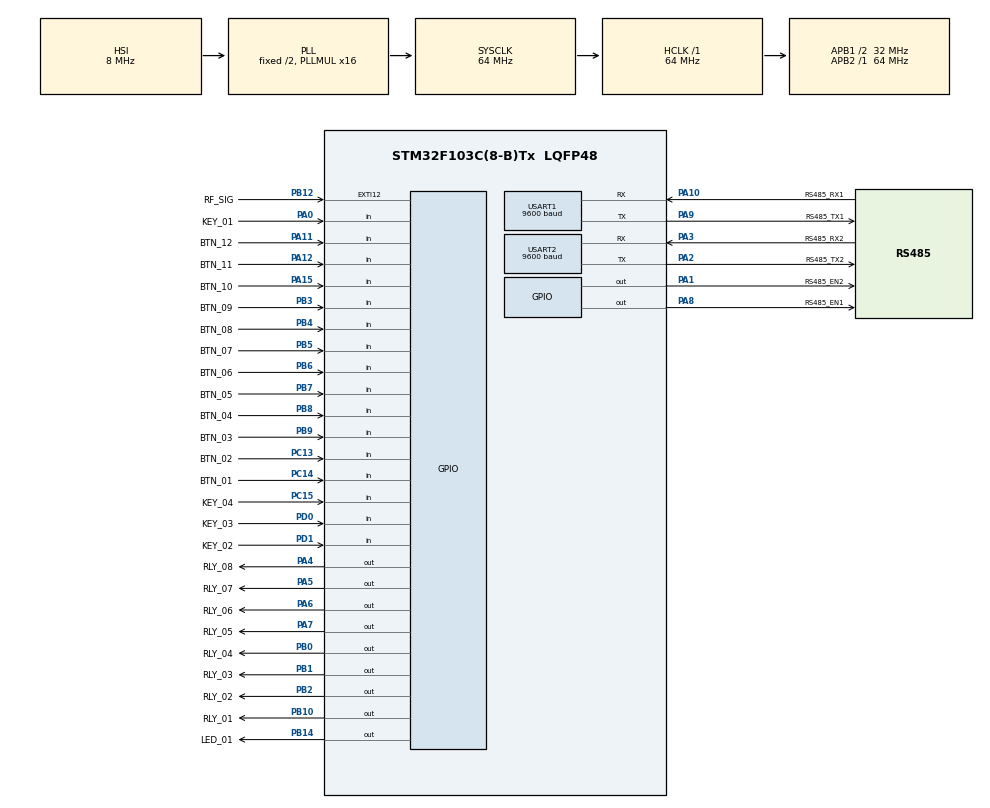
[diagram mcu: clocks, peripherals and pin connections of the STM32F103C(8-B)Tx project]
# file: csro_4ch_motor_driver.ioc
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Dma.Request0=USART1_RX
Dma.Request1=USART1_TX
Dma.Request2=USART2_RX
Dma.Request3=USART2_TX
Dma.USART1_RX.0.Direction=DMA_PERIPH_TO_MEMORY
Dma.USART1_RX.0.Instance=DMA1_Channel5
Dma.USART1_RX.0.MemDataAlignment=DMA_MDATAALIGN_BYTE
Dma.USART1_RX.0.MemInc=DMA_MINC_ENABLE
Dma.USART1_RX.0.Mode=DMA_CIRCULAR
Dma.USART1_RX.0.PeriphDataAlignment=DMA_PDATAALIGN_BYTE
Dma.USART1_RX.0.PeriphInc=DMA_PINC_DISABLE
Dma.USART1_RX.0.Priority=DMA_PRIORITY_LOW
Dma.USART1_TX.1.Direction=DMA_MEMORY_TO_PERIPH
Dma.USART1_TX.1.Instance=DMA1_Channel4
Dma.USART1_TX.1.MemDataAlignment=DMA_MDATAALIGN_BYTE
Dma.USART1_TX.1.MemInc=DMA_MINC_ENABLE
Dma.USART1_TX.1.Mode=DMA_NORMAL
Dma.USART1_TX.1.PeriphDataAlignment=DMA_PDATAALIGN_BYTE
Dma.USART1_TX.1.PeriphInc=DMA_PINC_DISABLE
Dma.USART1_TX.1.Priority=DMA_PRIORITY_LOW
Dma.USART2_RX.2.Direction=DMA_PERIPH_TO_MEMORY
Dma.USART2_RX.2.Instance=DMA1_Channel6
Dma.USART2_RX.2.MemDataAlignment=DMA_MDATAALIGN_BYTE
Dma.USART2_RX.2.MemInc=DMA_MINC_ENABLE
Dma.USART2_RX.2.Mode=DMA_CIRCULAR
Dma.USART2_RX.2.PeriphDataAlignment=DMA_PDATAALIGN_BYTE
Dma.USART2_RX.2.PeriphInc=DMA_PINC_DISABLE
Dma.USART2_RX.2.Priority=DMA_PRIORITY_LOW
Dma.USART2_TX.3.Direction=DMA_MEMORY_TO_PERIPH
Dma.USART2_TX.3.Instance=DMA1_Channel7
Dma.USART2_TX.3.MemDataAlignment=DMA_MDATAALIGN_BYTE
Dma.USART2_TX.3.MemInc=DMA_MINC_ENABLE
Dma.USART2_TX.3.Mode=DMA_NORMAL
Dma.USART2_TX.3.PeriphDataAlignment=DMA_PDATAALIGN_BYTE
Dma.USART2_TX.3.PeriphInc=DMA_PINC_DISABLE
Dma.USART2_TX.3.Priority=DMA_PRIORITY_LOW
FREERTOS.Tasks01=Task01,47,256,StartTask01,Default,NULL,Dynamic,NULL,NULL;Task02,45,256,StartTask02,Default,NULL,Dynamic,NULL,NULL;Task03,43,128,StartTask03,Default,NULL,Dynamic,NULL,NULL;Task04,41,128,StartTask04,Default,NULL,Dynamic,NULL,NULL
FREERTOS.configTOTAL_HEAP_SIZE=5120
FREERTOS.configUSE_NEWLIB_REENTRANT=1
Mcu.Family=STM32F1
Mcu.Name=STM32F103C(8-B)Tx
Mcu.Package=LQFP48
NVIC.DMA1_Channel4_IRQn=true\:5\:0\:false\:false\:true\:true\:false\:true
NVIC.DMA1_Channel5_IRQn=true\:5\:0\:false\:false\:true\:true\:false\:true
NVIC.DMA1_Channel6_IRQn=true\:5\:0\:false\:false\:true\:true\:false\:true
NVIC.DMA1_Channel7_IRQn=true\:5\:0\:false\:false\:true\:true\:false\:true
NVIC.EXTI15_10_IRQn=true\:5\:0\:false\:false\:true\:true\:true\:true
NVIC.PriorityGroup=NVIC_PRIORITYGROUP_4
NVIC.TIM4_IRQn=true\:15\:0\:false\:false\:true\:false\:false\:true
NVIC.TimeBase=TIM4_IRQn
NVIC.TimeBaseIP=TIM4
NVIC.USART1_IRQn=true\:5\:0\:false\:false\:true\:true\:true\:true
NVIC.USART2_IRQn=true\:5\:0\:false\:false\:true\:true\:true\:true
PA0-WKUP.GPIO_Label=KEY_01
PA0-WKUP.Signal=GPIO_Input
PA1.GPIO_Label=RS485_EN2
PA1.Signal=GPIO_Output
PA10.GPIO_Label=RS485_RX1
PA10.Mode=Asynchronous
PA10.Signal=USART1_RX
PA11.GPIO_Label=BTN_12
PA11.Signal=GPIO_Input
PA12.GPIO_Label=BTN_11
PA12.Signal=GPIO_Input
PA13.GPIO_Label=SWDIO
PA13.Mode=Serial_Wire
PA13.Signal=SYS_JTMS-SWDIO
PA14.GPIO_Label=SWCLK
PA14.Mode=Serial_Wire
PA14.Signal=SYS_JTCK-SWCLK
PA15.GPIO_Label=BTN_10
PA15.Signal=GPIO_Input
PA2.GPIO_Label=RS485_TX2
PA2.Mode=Asynchronous
PA2.Signal=USART2_TX
PA3.GPIO_Label=RS485_RX2
PA3.Mode=Asynchronous
PA3.Signal=USART2_RX
PA4.GPIO_Label=RLY_08
PA4.Signal=GPIO_Output
PA5.GPIO_Label=RLY_07
PA5.Signal=GPIO_Output
PA6.GPIO_Label=RLY_06
PA6.Signal=GPIO_Output
PA7.GPIO_Label=RLY_05
PA7.Signal=GPIO_Output
PA8.GPIO_Label=RS485_EN1
PA8.Signal=GPIO_Output
PA9.GPIO_Label=RS485_TX1
PA9.Mode=Asynchronous
PA9.Signal=USART1_TX
PB0.GPIO_Label=RLY_04
PB0.Signal=GPIO_Output
PB1.GPIO_Label=RLY_03
PB1.Signal=GPIO_Output
PB10.GPIO_Label=RLY_01
PB10.Signal=GPIO_Output
PB12.GPIO_Label=RF_SIG
PB12.GPIO_ModeDefaultEXTI=GPIO_MODE_IT_RISING_FALLING
PB12.GPIO_PuPd=GPIO_NOPULL
PB12.Signal=GPXTI12
PB14.GPIO_Label=LED_01
PB14.Signal=GPIO_Output
PB2.GPIO_Label=RLY_02
PB2.Signal=GPIO_Output
PB3.GPIO_Label=BTN_09
PB3.Signal=GPIO_Input
PB4.GPIO_Label=BTN_08
PB4.Signal=GPIO_Input
PB5.GPIO_Label=BTN_07
PB5.Signal=GPIO_Input
PB6.GPIO_Label=BTN_06
PB6.Signal=GPIO_Input
PB7.GPIO_Label=BTN_05
PB7.Signal=GPIO_Input
PB8.GPIO_Label=BTN_04
PB8.Signal=GPIO_Input
PB9.GPIO_Label=BTN_03
PB9.Signal=GPIO_Input
PC13-TAMPER-RTC.GPIO_Label=BTN_02
PC13-TAMPER-RTC.Signal=GPIO_Input
PC14-OSC32_IN.GPIO_Label=BTN_01
PC14-OSC32_IN.Signal=GPIO_Input
PC15-OSC32_OUT.GPIO_Label=KEY_04
PC15-OSC32_OUT.Signal=GPIO_Input
PD0-OSC_IN.GPIO_Label=KEY_03
PD0-OSC_IN.Signal=GPIO_Input
PD1-OSC_OUT.GPIO_Label=KEY_02
PD1-OSC_OUT.Signal=GPIO_Input
ProjectManager.HeapSize=0x800
ProjectManager.StackSize=0x800
ProjectManager.TargetToolchain=STM32CubeIDE
RCC.AHBFreq_Value=64000000
RCC.APB1CLKDivider=RCC_HCLK_DIV2
RCC.APB1Freq_Value=32000000
RCC.APB1TimFreq_Value=64000000
RCC.APB2Freq_Value=64000000
RCC.APB2TimFreq_Value=64000000
RCC.HCLKFreq_Value=64000000
RCC.PLLMUL=RCC_PLL_MUL16
RCC.SYSCLKFreq_VALUE=64000000
RCC.SYSCLKSource=RCC_SYSCLKSOURCE_PLLCLK
RCC.USBFreq_Value=64000000
TIM1.Prescaler=639
USART1.BaudRate=9600
USART1.VirtualMode=VM_ASYNC
USART2.BaudRate=9600
USART2.VirtualMode=VM_ASYNC
VP_FREERTOS_VS_CMSIS_V2.Mode=CMSIS_V2
VP_SYS_VS_tim4.Mode=TIM4
VP_TIM1_VS_ClockSourceINT.Mode=Internal
board=custom

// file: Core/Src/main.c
/* USER CODE BEGIN Header */
/**
  ******************************************************************************
  * @file           : main.c
  * @brief          : Main program body
  ******************************************************************************
  * @attention
  *
  * Copyright (c) 2021 STMicroelectronics.
  * All rights reserved.
  *
  * This software is licensed under terms that can be found in the LICENSE file
  * in the root directory of this software component.
  * If no LICENSE file comes with this software, it is provided AS-IS.
  *
  ******************************************************************************
  */
/* USER CODE END Header */
#include "main.h"
#include "cmsis_os.h"
#include "dma.h"
#include "tim.h"
#include "usart.h"
#include "gpio.h"

void SystemClock_Config(void);
void MX_FREERTOS_Init(void);

int main(void)
{

  /* MCU Configuration--------------------------------------------------------*/

  /* Reset of all peripherals, Initializes the Flash interface and the Systick. */
  HAL_Init();

  /* Configure the system clock */
  SystemClock_Config();

  /* Initialize all configured peripherals */
  MX_GPIO_Init();
  MX_DMA_Init();
  MX_USART1_UART_Init();
  MX_USART2_UART_Init();
  MX_TIM1_Init();

  /* Init scheduler */
  osKernelInitialize();  /* Call init function for freertos objects (in freertos.c) */
  MX_FREERTOS_Init();
  /* Start scheduler */
  osKernelStart();

  /* We should never get here as control is now taken by the scheduler */
  /* Infinite loop */
  while (1)
  {

  }
}

void SystemClock_Config(void)
{
  RCC_OscInitTypeDef RCC_OscInitStruct = {0};
  RCC_ClkInitTypeDef RCC_ClkInitStruct = {0};

  /** Initializes the RCC Oscillators according to the specified parameters
  * in the RCC_OscInitTypeDef structure.
  */
  RCC_OscInitStruct.OscillatorType = RCC_OSCILLATORTYPE_HSI;
  RCC_OscInitStruct.HSIState = RCC_HSI_ON;
  RCC_OscInitStruct.HSICalibrationValue = RCC_HSICALIBRATION_DEFAULT;
  RCC_OscInitStruct.PLL.PLLState = RCC_PLL_ON;
  RCC_OscInitStruct.PLL.PLLSource = RCC_PLLSOURCE_HSI_DIV2;
  RCC_OscInitStruct.PLL.PLLMUL = RCC_PLL_MUL16;
  if (HAL_RCC_OscConfig(&RCC_OscInitStruct) != HAL_OK)
  {
    Error_Handler();
  }
  /** Initializes the CPU, AHB and APB buses clocks
  */
  RCC_ClkInitStruct.ClockType = RCC_CLOCKTYPE_HCLK|RCC_CLOCKTYPE_SYSCLK
                              |RCC_CLOCKTYPE_PCLK1|RCC_CLOCKTYPE_PCLK2;
  RCC_ClkInitStruct.SYSCLKSource = RCC_SYSCLKSOURCE_PLLCLK;
  RCC_ClkInitStruct.AHBCLKDivider = RCC_SYSCLK_DIV1;
  RCC_ClkInitStruct.APB1CLKDivider = RCC_HCLK_DIV2;
  RCC_ClkInitStruct.APB2CLKDivider = RCC_HCLK_DIV1;

  if (HAL_RCC_ClockConfig(&RCC_ClkInitStruct, FLASH_LATENCY_2) != HAL_OK)
  {
    Error_Handler();
  }
}

void HAL_TIM_PeriodElapsedCallback(TIM_HandleTypeDef *htim)
{
  if (htim->Instance == TIM4) {
    HAL_IncTick();
  }
}

void Error_Handler(void)
{
  __disable_irq();
  while (1)
  {
  }
}

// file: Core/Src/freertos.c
/* USER CODE BEGIN Header */
/**
 ******************************************************************************
 * File Name          : freertos.c
 * Description        : Code for freertos applications
 ******************************************************************************
 * @attention
 *
 * Copyright (c) 2021 STMicroelectronics.
 * All rights reserved.
 *
 * This software is licensed under terms that can be found in the LICENSE file
 * in the root directory of this software component.
 * If no LICENSE file comes with this software, it is provided AS-IS.
 *
 ******************************************************************************
 */
/* USER CODE END Header */

#include "FreeRTOS.h"
#include "task.h"
#include "main.h"
#include "cmsis_os.h"

/* USER CODE BEGIN Includes */
#include "fnd_com.h"
#include "fnd_input.h"
#include "fnd_output.h"
#include "ee.h"

#include "motor_function.h"
#include "motor_param_persist.h"
/* USER CODE END Includes */

/* Definitions for Task01 */
osThreadId_t Task01Handle;
const osThreadAttr_t Task01_attributes = {
  .name = "Task01",
  .stack_size = 256 * 4,
  .priority = (osPriority_t) osPriorityHigh7,
};
/* Definitions for Task02 */
osThreadId_t Task02Handle;
const osThreadAttr_t Task02_attributes = {
  .name = "Task02",
  .stack_size = 256 * 4,
  .priority = (osPriority_t) osPriorityHigh5,
};
/* Definitions for Task03 */
osThreadId_t Task03Handle;
const osThreadAttr_t Task03_attributes = {
  .name = "Task03",
  .stack_size = 128 * 4,
  .priority = (osPriority_t) osPriorityHigh3,
};
/* Definitions for Task04 */
osThreadId_t Task04Handle;
const osThreadAttr_t Task04_attributes = {
  .name = "Task04",
  .stack_size = 128 * 4,
  .priority = (osPriority_t) osPriorityHigh1,
};

void StartTask01(void *argument);
void StartTask02(void *argument);
void StartTask03(void *argument);
void StartTask04(void *argument);

void MX_FREERTOS_Init(void); /* (MISRA C 2004 rule 8.1) */

void MX_FREERTOS_Init(void) {
  /* USER CODE BEGIN Init */
  fnd_com_modbus_rtu_init();
  ee_init();
  /* USER CODE END Init */

  /* Create the thread(s) */
  /* creation of Task01 */
  Task01Handle = osThreadNew(StartTask01, NULL, &Task01_attributes);

  /* creation of Task02 */
  Task02Handle = osThreadNew(StartTask02, NULL, &Task02_attributes);

  /* creation of Task03 */
  Task03Handle = osThreadNew(StartTask03, NULL, &Task03_attributes);

  /* creation of Task04 */
  Task04Handle = osThreadNew(StartTask04, NULL, &Task04_attributes);

}

void StartTask01(void *argument)
{
  /* USER CODE BEGIN StartTask01 */
  /* Infinite loop */
  for (;;)
  {
    fnd_com_modbus_rtu_slave1_wait();
  }
  /* USER CODE END StartTask01 */
}

void StartTask02(void *argument)
{
  /* USER CODE BEGIN StartTask02 */
  /* Infinite loop */
  for (;;)
  {
    fnd_com_modbus_rtu_slave2_wait();
  }
  /* USER CODE END StartTask02 */
}

void StartTask03(void *argument)
{
  /* USER CODE BEGIN StartTask03 */
  motor_param_persist_initialize();
  motor_function_initialize();
  /* Infinite loop */
  for (;;)
  {
    osDelay(10);
    fnd_input_update_value();
    motor_function_step();
    fnd_output_update_value(relay);
  }
  /* USER CODE END StartTask03 */
}

void StartTask04(void *argument)
{
  /* USER CODE BEGIN StartTask04 */
  uint8_t count = 0;
  /* Infinite loop */
  for (;;)
  {
    osDelay(200);
    HAL_GPIO_TogglePin(LED_01_GPIO_Port, LED_01_Pin);
    count = (count + 1) % 50;
    if (count == 0)
    {
      motor_param_persist_step();
    }
  }
  /* USER CODE END StartTask04 */
}
